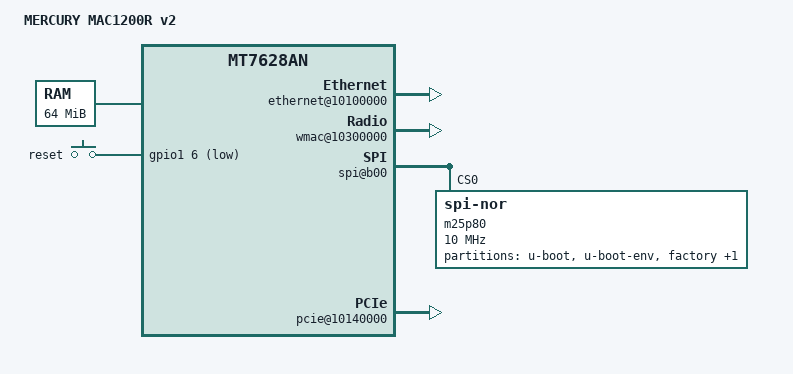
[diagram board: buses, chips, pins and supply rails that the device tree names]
/dts-v1/;

/include/ "mt7628an.dtsi"

/ {
	compatible = "mercury,MAC1200R v2", "mediatek,mt7628an-soc";
	model = "MERCURY MAC1200R v2";

	chosen {
		bootargs = "console=ttyS0,115200";
	};

	memory@0 {
		device_type = "memory";
		reg = <0x0 0x4000000>;
	};

	pinctrl {
		state_default: pinctrl0 {
			gpio {
				ralink,group = "gpio";
				ralink,function = "gpio";
			};
		};
	};

	gpio-keys-polled {
		compatible = "gpio-keys-polled";
		#address-cells = <1>;
		#size-cells = <0>;
		poll-interval = <20>;

		reset {
			label = "reset";
			gpios = <&gpio1 6 1>;
			linux,code = <0x198>;
		};
	};

	ethernet@10100000 {
		status = "okay";
		mtd-mac-address = <&factory 0x4>;
		ralink,portmap = "llllw";
	};

	esw@10110000 {
		status = "okay";
		ralink,portmap = <0x2f>;
	};

	wmac@10300000 {
		status = "okay";
		ralink,mtd-eeprom = <&factory 0>;
	};

	palmbus@10000000 {
		spi@b00 {
			status = "okay";

			m25p80@0 {
				#address-cells = <1>;
				#size-cells = <1>;
				compatible = "jedec,spi-nor";
				reg = <0 0>;
				linux,modalias = "m25p80";
				spi-max-frequency = <10000000>;
				m25p,chunked-io = <32>;

				partition@0 {
					label = "u-boot";
					reg = <0x0 0x30000>;
					read-only;
				};

				partition@30000 {
					label = "u-boot-env";
					reg = <0x30000 0x10000>;
					read-only;
				};

				factory: partition@40000 {
					label = "factory";
					reg = <0x40000 0x10000>;
					read-only;
				};

				partition@50000 {
					label = "firmware";
					reg = <0x50000 0x7b0000>;
				};
			};
		};
	};

	pcie@10140000 {
		status = "okay";

		pcie@0,0 {
			mt76@0,0 {
				reg = <0x0000 0 0 0 0>;
				device_type = "pci";
				mediatek,mtd-eeprom = <&factory 0x8000>;
				mediatek,5ghz = <0>;
			};
		};
	};
};
